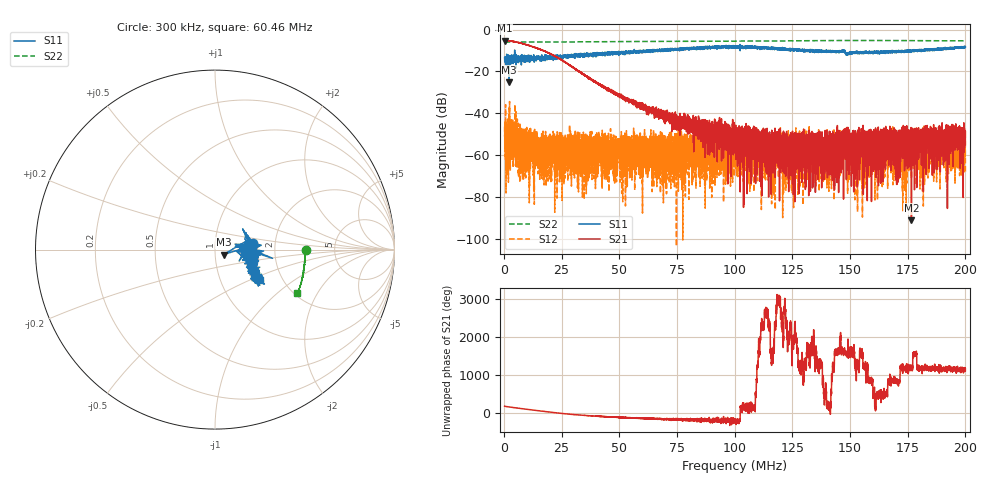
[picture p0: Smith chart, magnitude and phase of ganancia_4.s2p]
# Hz S DB R 50
! CMT, M5065, 19127446, 24.2.4/2
! Date: 11/8/2024 6:29:48 PM
! Data: Format (Calibration Info)
! Freq	S11:dB/Ang(F2)	S21:dB/Ang(F2)	S12:dB/Ang(F2)	S22:dB/Ang(F2)
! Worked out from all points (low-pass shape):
!   9000 points, 300 kHz to 200 MHz, reference 50 ohm
!   highest |S21| = -5.22 dB at 388.8 kHz (marker M1); lowest = -91.1 dB at 176.6 MHz (marker M2)
!   |S21| within 3 dB of the highest: start of sweep to 12.55 MHz; 12.61613 MHz to 12.6466 MHz (30.47 kHz wide, 0.241 % of centre)
!   lowest |S11| = -25.2 dB at 2.253 MHz (marker M3), VSWR 1.12, Z = 54.9 - j3.04 ohm
!   |S11| at or under -10 dB: 4.673 MHz to 56.5 MHz (51.83 MHz wide, 169 % of centre); 141.7 MHz to 146.3 MHz (4.655 MHz wide, 3.23 % of centre); 147.8 MHz to 168.2 MHz (20.36 MHz wide, 12.9 % of centre)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
!   |S22| runs from -6.0 to -5.2 dB; largest |S21 - S12| = 0.55
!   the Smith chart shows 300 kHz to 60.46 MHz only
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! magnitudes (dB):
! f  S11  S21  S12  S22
! 300 kHz  -13.4  -5.3  -46.4  -5.9
! 388.8 kHz  -13.8  -5.2  -45.5  -6.0
! 2.253 MHz  -25.2  -5.4  -46.7  -6.0
! 13.88 MHz  -13.6  -8.7  -54.2  -5.9
! 33.59 MHz  -12.6  -21.0  -68.1  -5.9
! 66.87 MHz  -10.0  -41.7  -67.8  -5.6
! 100.2 MHz  -8.8  -52.6  -48.9  -5.5
! 115.2 MHz  -9.0  -59.1  -51.0  -5.5
! 126.3 MHz  -9.7  -54.0  -67.6  -5.4
! 128.8 MHz  -9.6  -58.2  -69.6  -5.3
! 133.4 MHz  -9.8  -55.4  -64.7  -5.3
! 140.4 MHz  -10.3  -64.4  -55.5  -5.2
! 147.9 MHz  -10.7  -51.5  -53.3  -5.2
! 149.9 MHz  -11.2  -51.4  -61.1  -5.2
! 152.6 MHz  -11.2  -54.4  -57.7  -5.2
! 166.7 MHz  -10.7  -64.8  -56.7  -5.2
! 171.4 MHz  -10.7  -53.7  -65.0  -5.2
! 173.5 MHz  -10.3  -52.8  -59.2  -5.3
! 176.6 MHz  -9.9  -91.1  -62.2  -5.3
! 197.8 MHz  -8.6  -55.2  -63.6  -5.4
! 199 MHz  -8.3  -49.5  -63.9  -5.4
! 200 MHz  -8.2  -54.9  -68.1  -5.4
